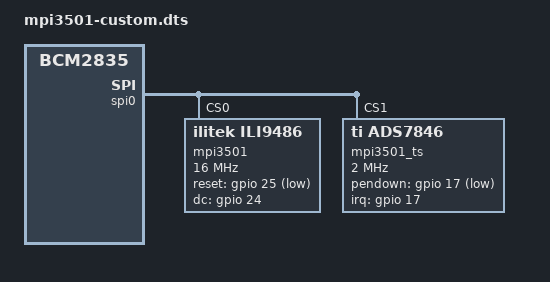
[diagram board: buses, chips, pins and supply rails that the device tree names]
/dts-v1/;
/plugin/;

/ {
    compatible = "brcm,bcm2835";

    fragment@0 {
        target = <&spi0>;
        __overlay__ {
            status = "okay";
        };
    };

    fragment@1 {
        target = <&gpio>;
        __overlay__ {
            mpi3501_pins: mpi3501_pins {
                brcm,pins = <24 25 17>;
                brcm,function = <1 1 0>; /* 1=output (DC,RESET), 0=input (PENIRQ) */
            };
        };
    };

    fragment@2 {
        target = <&spi0>;
        __overlay__ {
            #address-cells = <1>;
            #size-cells = <0>;

            mpi3501: display@0 {
                compatible = "ilitek,ili9486";
                reg = <0>;
                pinctrl-names = "default";
                pinctrl-0 = <&mpi3501_pins>;

                spi-max-frequency = <16000000>;
                txbuflen = <0x8000>;
                rotate = <90>;
                bgr = <0>;
                fps = <30>;
                buswidth = <8>;
                regwidth = <16>;

                reset-gpios = <&gpio 25 1>;
                dc-gpios    = <&gpio 24 0>;
                debug = <0>;

                init = <0x10000f1 0x36 0x04 0x00 0x3c 0x0f 0x8f
                        0x10000f2 0x18 0xa3 0x12 0x02 0xb2 0x12 0xff 0x10 0x00
                        0x10000f8 0x21 0x04
                        0x10000f9 0x00 0x08
                        0x1000036 0x08
                        0x10000b4 0x00
                        0x10000c1 0x41
                        0x10000c5 0x00 0x91 0x80 0x00
                        0x10000e0 0x0f 0x1f 0x1c 0x0c 0x0f 0x08 0x48 0x98 0x37 0x0a 0x13 0x04 0x11 0x0d 0x00
                        0x10000e1 0x0f 0x32 0x2e 0x0b 0x0d 0x05 0x47 0x75 0x37 0x06 0x10 0x03 0x24 0x20 0x00
                        0x100003a 0x55
                        0x1000011
                        0x1000036 0x28
                        0x20000ff
                        0x1000029>;
            };

            mpi3501_ts: touchscreen@1 {
                compatible = "ti,ads7846";
                reg = <1>;
                spi-max-frequency = <2000000>;
                interrupt-parent = <&gpio>;
                interrupts = <17 2>;           /* GPIO17, falling edge */
                pendown-gpio = <&gpio 17 1>;   /* input, active high */

                ti,x-plate-ohms = <60>;
                ti,pressure-max = <255>;
            };
        };
    };
};
